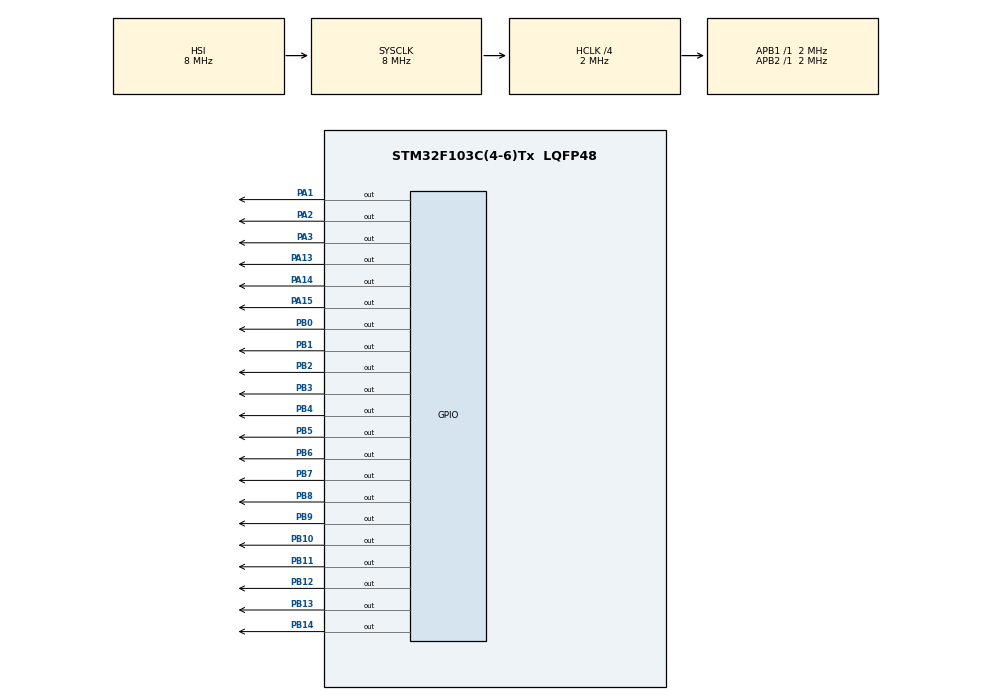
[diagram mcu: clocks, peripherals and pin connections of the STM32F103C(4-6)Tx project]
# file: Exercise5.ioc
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Mcu.Family=STM32F1
Mcu.Name=STM32F103C(4-6)Tx
Mcu.Package=LQFP48
NVIC.PriorityGroup=NVIC_PRIORITYGROUP_4
PA1.Signal=GPIO_Output
PA13.Signal=GPIO_Output
PA14.Signal=GPIO_Output
PA15.Signal=GPIO_Output
PA2.Signal=GPIO_Output
PA3.Signal=GPIO_Output
PB0.Signal=GPIO_Output
PB1.Signal=GPIO_Output
PB10.Signal=GPIO_Output
PB11.Signal=GPIO_Output
PB12.Signal=GPIO_Output
PB13.Signal=GPIO_Output
PB14.Signal=GPIO_Output
PB2.Signal=GPIO_Output
PB3.Signal=GPIO_Output
PB4.Signal=GPIO_Output
PB5.Signal=GPIO_Output
PB6.Signal=GPIO_Output
PB7.Signal=GPIO_Output
PB8.Signal=GPIO_Output
PB9.Signal=GPIO_Output
PD0-OSC_IN.Mode=HSE-External-Oscillator
PD0-OSC_IN.Signal=RCC_OSC_IN
PD1-OSC_OUT.Mode=HSE-External-Oscillator
PD1-OSC_OUT.Signal=RCC_OSC_OUT
ProjectManager.HeapSize=0x200
ProjectManager.StackSize=0x400
ProjectManager.TargetToolchain=STM32CubeIDE
RCC.AHBCLKDivider=RCC_SYSCLK_DIV4
RCC.AHBFreq_Value=2000000
RCC.APB1Freq_Value=2000000
RCC.APB1TimFreq_Value=2000000
RCC.APB2Freq_Value=2000000
RCC.APB2TimFreq_Value=2000000
RCC.HCLKFreq_Value=2000000
RCC.SYSCLKFreq_VALUE=8000000
RCC.USBFreq_Value=8000000
VP_SYS_VS_ND.Mode=No_Debug
board=custom

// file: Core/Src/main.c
/* USER CODE BEGIN Header */
/**
  ******************************************************************************
  * @file           : main.c
  * @brief          : Main program body
  ******************************************************************************
  * @attention
  *
  * <h2><center>&copy; Copyright (c) 2021 STMicroelectronics.
  * All rights reserved.</center></h2>
  *
  * This software component is licensed by ST under BSD 3-Clause license,
  * the "License"; You may not use this file except in compliance with the
  * License. You may obtain a copy of the License at:
  *                        opensource.org/licenses/BSD-3-Clause
  *
  ******************************************************************************
  */
/* USER CODE END Header */
#include "main.h"

void SystemClock_Config(void);
static void MX_GPIO_Init(void);

//Hiển thị trạng thái của 3 đèn (hàng ngang ở ngã tư)
void trafficLightRow(int state){
//	Tắt cả 3 đèn ở ngã tư
	HAL_GPIO_WritePin(GPIOA, GPIO_PIN_1, GPIO_PIN_SET);
	HAL_GPIO_WritePin(GPIOA, GPIO_PIN_2, GPIO_PIN_SET);
	HAL_GPIO_WritePin(GPIOA, GPIO_PIN_3, GPIO_PIN_SET);
//	Kiểm tra trạng thái vào là gì bằng switch
//	Nếu 1 thì đèn tại chân PA1 sáng
//	Nếu 2 thì đèn tại chân PA2 sáng
//	Nếu 3 thì đèn tại chân PA3 sáng
	switch(state){
	case 1:
	  HAL_GPIO_WritePin(GPIOA, GPIO_PIN_1, GPIO_PIN_RESET);
	  break;
	case 2:
	  HAL_GPIO_WritePin(GPIOA, GPIO_PIN_2, GPIO_PIN_RESET);
	  break;
	case 3:
	  HAL_GPIO_WritePin(GPIOA, GPIO_PIN_3, GPIO_PIN_RESET);
	  break;
	}
}
//Hiển thị trạng thái của 3 đèn (hàng dọc ở ngã tư)
void trafficLightCol(int state){
//	Tắt cả 3 đèn ở ngã tư
	HAL_GPIO_WritePin(GPIOA, GPIO_PIN_13, GPIO_PIN_SET);
	HAL_GPIO_WritePin(GPIOA, GPIO_PIN_14, GPIO_PIN_SET);
	HAL_GPIO_WritePin(GPIOA, GPIO_PIN_15, GPIO_PIN_SET);
//	Kiểm tra trạng thái vào là gì bằng switch
//	Nếu 1 thì đèn tại chân PA13 sáng
//	Nếu 2 thì đèn tại chân PA14 sáng
//	Nếu 3 thì đèn tại chân PA15 sáng
	switch(state){
	case 1:
	  HAL_GPIO_WritePin(GPIOA, GPIO_PIN_13, GPIO_PIN_RESET);
	  break;
	case 2:
	  HAL_GPIO_WritePin(GPIOA, GPIO_PIN_14, GPIO_PIN_RESET);
	  break;
	case 3:
	  HAL_GPIO_WritePin(GPIOA, GPIO_PIN_15, GPIO_PIN_RESET);
	  break;
	}
}
//Hiển thị số đếm trên LED 7 đoạn (hàng ngang ở ngã tư)
void display7SEGrow(int count){
//	Thực hiện reset LED 7 đoạn cho các chân thành 0 để bật sáng hết cả 7 đoạn
	HAL_GPIO_WritePin(GPIOB, GPIO_PIN_0, GPIO_PIN_RESET);
	HAL_GPIO_WritePin(GPIOB, GPIO_PIN_1, GPIO_PIN_RESET);
	HAL_GPIO_WritePin(GPIOB, GPIO_PIN_2, GPIO_PIN_RESET);
	HAL_GPIO_WritePin(GPIOB, GPIO_PIN_3, GPIO_PIN_RESET);
	HAL_GPIO_WritePin(GPIOB, GPIO_PIN_4, GPIO_PIN_RESET);
	HAL_GPIO_WritePin(GPIOB, GPIO_PIN_5, GPIO_PIN_RESET);
	HAL_GPIO_WritePin(GPIOB, GPIO_PIN_6, GPIO_PIN_RESET);
//	Dùng switch để kiểm tra đầu vào là số nào cần hiển thị
//	Thứ tự tương ứng trong mô phỏng 0 1 2 3 4 5 6 (Proteus) -> a b c d e f g (LED 7 đoạn)
//	Sau đó tắt đi cắt chân không cần thiết để được số như đầu vào
	switch(count){
	case 0:
		HAL_GPIO_WritePin(GPIOB, GPIO_PIN_6, GPIO_PIN_SET);
		break;
	case 1:
		HAL_GPIO_WritePin(GPIOB, GPIO_PIN_0, GPIO_PIN_SET);
		HAL_GPIO_WritePin(GPIOB, GPIO_PIN_3, GPIO_PIN_SET);
		HAL_GPIO_WritePin(GPIOB, GPIO_PIN_4, GPIO_PIN_SET);
		HAL_GPIO_WritePin(GPIOB, GPIO_PIN_5, GPIO_PIN_SET);
		HAL_GPIO_WritePin(GPIOB, GPIO_PIN_6, GPIO_PIN_SET);
		break;
	case 2:
		HAL_GPIO_WritePin(GPIOB, GPIO_PIN_2, GPIO_PIN_SET);
		HAL_GPIO_WritePin(GPIOB, GPIO_PIN_5, GPIO_PIN_SET);
		break;
	case 3:
		HAL_GPIO_WritePin(GPIOB, GPIO_PIN_4, GPIO_PIN_SET);
		HAL_GPIO_WritePin(GPIOB, GPIO_PIN_5, GPIO_PIN_SET);
		break;
	case 4:
		HAL_GPIO_WritePin(GPIOB, GPIO_PIN_0, GPIO_PIN_SET);
		HAL_GPIO_WritePin(GPIOB, GPIO_PIN_3, GPIO_PIN_SET);
		HAL_GPIO_WritePin(GPIOB, GPIO_PIN_4, GPIO_PIN_SET);
		break;
	case 5:
		HAL_GPIO_WritePin(GPIOB, GPIO_PIN_1, GPIO_PIN_SET);
		HAL_GPIO_WritePin(GPIOB, GPIO_PIN_4, GPIO_PIN_SET);
		break;
	case 6:
		HAL_GPIO_WritePin(GPIOB, GPIO_PIN_1, GPIO_PIN_SET);
		break;
	case 7:
		HAL_GPIO_WritePin(GPIOB, GPIO_PIN_3, GPIO_PIN_SET);
		HAL_GPIO_WritePin(GPIOB, GPIO_PIN_4, GPIO_PIN_SET);
		HAL_GPIO_WritePin(GPIOB, GPIO_PIN_5, GPIO_PIN_SET);
		HAL_GPIO_WritePin(GPIOB, GPIO_PIN_6, GPIO_PIN_SET);
		break;
	case 8:
		break;
	case 9:
		HAL_GPIO_WritePin(GPIOB, GPIO_PIN_4, GPIO_PIN_SET);
		break;
	}
}
//Hiển thị số đếm trên LED 7 đoạn (hàng ngang ở ngã tư)
void display7SEGcol(int count){
//	Thực hiện reset LED 7 đoạn cho các chân thành 0 để bật sáng hết cả 7 đoạn
	HAL_GPIO_WritePin(GPIOB, GPIO_PIN_7, GPIO_PIN_RESET);
	HAL_GPIO_WritePin(GPIOB, GPIO_PIN_8, GPIO_PIN_RESET);
	HAL_GPIO_WritePin(GPIOB, GPIO_PIN_9, GPIO_PIN_RESET);
	HAL_GPIO_WritePin(GPIOB, GPIO_PIN_10, GPIO_PIN_RESET);
	HAL_GPIO_WritePin(GPIOB, GPIO_PIN_11, GPIO_PIN_RESET);
	HAL_GPIO_WritePin(GPIOB, GPIO_PIN_12, GPIO_PIN_RESET);
	HAL_GPIO_WritePin(GPIOB, GPIO_PIN_13, GPIO_PIN_RESET);
//	Dùng switch để kiểm tra đầu vào là số nào cần hiển thị
//	Thứ tự tương ứng trong mô phỏng 7 8 9 10 11 12 13 (Proteus) -> a b c d e f g (LED 7 đoạn)
//	Sau đó tắt đi cắt chân không cần thiết để được số như đầu vào
	switch(count){
	case 0:
		HAL_GPIO_WritePin(GPIOB, GPIO_PIN_13, GPIO_PIN_SET);
		break;
	case 1:
		HAL_GPIO_WritePin(GPIOB, GPIO_PIN_7, GPIO_PIN_SET);
		HAL_GPIO_WritePin(GPIOB, GPIO_PIN_10, GPIO_PIN_SET);
		HAL_GPIO_WritePin(GPIOB, GPIO_PIN_11, GPIO_PIN_SET);
		HAL_GPIO_WritePin(GPIOB, GPIO_PIN_12, GPIO_PIN_SET);
		HAL_GPIO_WritePin(GPIOB, GPIO_PIN_13, GPIO_PIN_SET);
		break;
	case 2:
		HAL_GPIO_WritePin(GPIOB, GPIO_PIN_9, GPIO_PIN_SET);
		HAL_GPIO_WritePin(GPIOB, GPIO_PIN_12, GPIO_PIN_SET);
		break;
	case 3:
		HAL_GPIO_WritePin(GPIOB, GPIO_PIN_11, GPIO_PIN_SET);
		HAL_GPIO_WritePin(GPIOB, GPIO_PIN_12, GPIO_PIN_SET);
		break;
	case 4:
		HAL_GPIO_WritePin(GPIOB, GPIO_PIN_7, GPIO_PIN_SET);
		HAL_GPIO_WritePin(GPIOB, GPIO_PIN_10, GPIO_PIN_SET);
		HAL_GPIO_WritePin(GPIOB, GPIO_PIN_11, GPIO_PIN_SET);
		break;
	case 5:
		HAL_GPIO_WritePin(GPIOB, GPIO_PIN_8, GPIO_PIN_SET);
		HAL_GPIO_WritePin(GPIOB, GPIO_PIN_11, GPIO_PIN_SET);
		break;
	case 6:
		HAL_GPIO_WritePin(GPIOB, GPIO_PIN_8, GPIO_PIN_SET);
		break;
	case 7:
		HAL_GPIO_WritePin(GPIOB, GPIO_PIN_10, GPIO_PIN_SET);
		HAL_GPIO_WritePin(GPIOB, GPIO_PIN_11, GPIO_PIN_SET);
		HAL_GPIO_WritePin(GPIOB, GPIO_PIN_12, GPIO_PIN_SET);
		HAL_GPIO_WritePin(GPIOB, GPIO_PIN_13, GPIO_PIN_SET);
		break;
	case 8:
		break;
	case 9:
		HAL_GPIO_WritePin(GPIOB, GPIO_PIN_11, GPIO_PIN_SET);
		break;
	}
}
int main(void)
{

  /* MCU Configuration--------------------------------------------------------*/

  /* Reset of all peripherals, Initializes the Flash interface and the Systick. */
  HAL_Init();

  /* Configure the system clock */
  SystemClock_Config();

  /* Initialize all configured peripherals */
  MX_GPIO_Init();

  /* Infinite loop */
  /* USER CODE BEGIN WHILE */
//  Khởi tạo giá trị đến ngược cho đèn xanh và đèn vàng
  const int maxGreen = 6;
  const int maxYellow = 2;
//  Set trạng thái của các cột đèn ở ngã tư
  int state_1 = 1, state_2 = 3;
  int counter_1 = 0, counter_2 = 0;
  while (1)
  {
    /* USER CODE END WHILE */

    /* USER CODE BEGIN 3 */
//	  Bật đèn giao thông ở ngã tư
	  trafficLightRow(state_1);
	  trafficLightCol(state_2);
//	  Đếm ngược LED 7 đoạn
	  display7SEGrow(counter_1--);
	  display7SEGcol(counter_2--);
//	 Kiểm tra nếu như thời gian 1 đèn đã hết thì chuyển sang đèn tiếp theo;
//	 Đồng thời set lại thời gian tương ứng với đỏ, xanh và vàng
	  if(counter_1 < 0) {
		  state_1--;
		  if(state_1 <= 0) state_1 = 3;
		  switch(state_1){
		  case 1: counter_1 = maxGreen + maxYellow + 1;break;
		  case 2: counter_1 = maxYellow;break;
		  case 3: counter_1 = maxGreen;break;
		  }
	  }
	  if(counter_2 < 0) {
		  state_2--;
		  if(state_2 <= 0) state_2 = 3;
		  switch(state_2){
		  case 1: counter_2 = maxGreen + maxYellow + 1;break;
		  case 2: counter_2 = maxYellow;break;
		  case 3: counter_2 = maxGreen;break;
		  }
	  }
	  HAL_Delay(800);
  }

  /* USER CODE END 3 */
}

void SystemClock_Config(void)
{
  RCC_OscInitTypeDef RCC_OscInitStruct = {0};
  RCC_ClkInitTypeDef RCC_ClkInitStruct = {0};

  /** Initializes the RCC Oscillators according to the specified parameters
  * in the RCC_OscInitTypeDef structure.
  */
  RCC_OscInitStruct.OscillatorType = RCC_OSCILLATORTYPE_HSI;
  RCC_OscInitStruct.HSIState = RCC_HSI_ON;
  RCC_OscInitStruct.HSICalibrationValue = RCC_HSICALIBRATION_DEFAULT;
  RCC_OscInitStruct.PLL.PLLState = RCC_PLL_NONE;
  if (HAL_RCC_OscConfig(&RCC_OscInitStruct) != HAL_OK)
  {
    Error_Handler();
  }
  /** Initializes the CPU, AHB and APB buses clocks
  */
  RCC_ClkInitStruct.ClockType = RCC_CLOCKTYPE_HCLK|RCC_CLOCKTYPE_SYSCLK
                              |RCC_CLOCKTYPE_PCLK1|RCC_CLOCKTYPE_PCLK2;
  RCC_ClkInitStruct.SYSCLKSource = RCC_SYSCLKSOURCE_HSI;
  RCC_ClkInitStruct.AHBCLKDivider = RCC_SYSCLK_DIV4;
  RCC_ClkInitStruct.APB1CLKDivider = RCC_HCLK_DIV1;
  RCC_ClkInitStruct.APB2CLKDivider = RCC_HCLK_DIV1;

  if (HAL_RCC_ClockConfig(&RCC_ClkInitStruct, FLASH_LATENCY_0) != HAL_OK)
  {
    Error_Handler();
  }
}

static void MX_GPIO_Init(void)
{
  GPIO_InitTypeDef GPIO_InitStruct = {0};

  /* GPIO Ports Clock Enable */
  __HAL_RCC_GPIOD_CLK_ENABLE();
  __HAL_RCC_GPIOA_CLK_ENABLE();
  __HAL_RCC_GPIOB_CLK_ENABLE();

  /*Configure GPIO pin Output Level */
  HAL_GPIO_WritePin(GPIOA, GPIO_PIN_1|GPIO_PIN_2|GPIO_PIN_3|GPIO_PIN_13
                          |GPIO_PIN_14|GPIO_PIN_15, GPIO_PIN_RESET);

  /*Configure GPIO pin Output Level */
  HAL_GPIO_WritePin(GPIOB, GPIO_PIN_0|GPIO_PIN_1|GPIO_PIN_2|GPIO_PIN_10
                          |GPIO_PIN_11|GPIO_PIN_12|GPIO_PIN_13|GPIO_PIN_14
                          |GPIO_PIN_3|GPIO_PIN_4|GPIO_PIN_5|GPIO_PIN_6
                          |GPIO_PIN_7|GPIO_PIN_8|GPIO_PIN_9, GPIO_PIN_RESET);

  /*Configure GPIO pins : PA1 PA2 PA3 PA13
                           PA14 PA15 */
  GPIO_InitStruct.Pin = GPIO_PIN_1|GPIO_PIN_2|GPIO_PIN_3|GPIO_PIN_13
                          |GPIO_PIN_14|GPIO_PIN_15;
  GPIO_InitStruct.Mode = GPIO_MODE_OUTPUT_PP;
  GPIO_InitStruct.Pull = GPIO_NOPULL;
  GPIO_InitStruct.Speed = GPIO_SPEED_FREQ_LOW;
  HAL_GPIO_Init(GPIOA, &GPIO_InitStruct);

  /*Configure GPIO pins : PB0 PB1 PB2 PB10
                           PB11 PB12 PB13 PB14
                           PB3 PB4 PB5 PB6
                           PB7 PB8 PB9 */
  GPIO_InitStruct.Pin = GPIO_PIN_0|GPIO_PIN_1|GPIO_PIN_2|GPIO_PIN_10
                          |GPIO_PIN_11|GPIO_PIN_12|GPIO_PIN_13|GPIO_PIN_14
                          |GPIO_PIN_3|GPIO_PIN_4|GPIO_PIN_5|GPIO_PIN_6
                          |GPIO_PIN_7|GPIO_PIN_8|GPIO_PIN_9;
  GPIO_InitStruct.Mode = GPIO_MODE_OUTPUT_PP;
  GPIO_InitStruct.Pull = GPIO_NOPULL;
  GPIO_InitStruct.Speed = GPIO_SPEED_FREQ_LOW;
  HAL_GPIO_Init(GPIOB, &GPIO_InitStruct);

}

void Error_Handler(void)
{
  __disable_irq();
  while (1)
  {
  }
}

/************************ (C) COPYRIGHT STMicroelectronics *****END OF FILE****/
